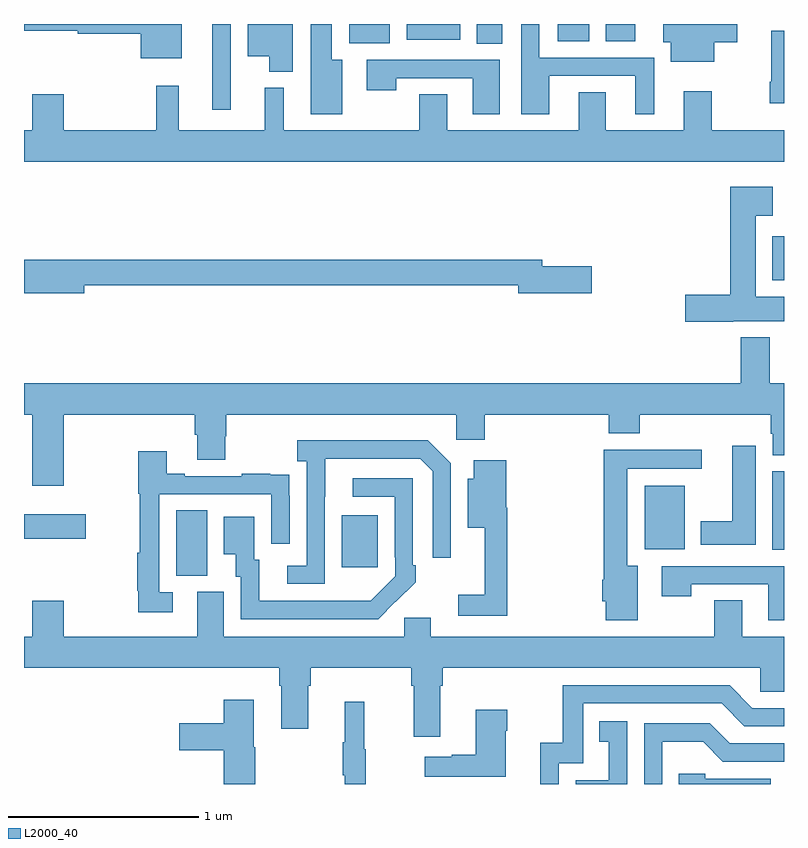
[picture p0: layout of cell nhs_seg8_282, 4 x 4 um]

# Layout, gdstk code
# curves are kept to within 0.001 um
import gdstk
lib = gdstk.Library(unit=1e-6, precision=1e-09)
def R(c, l, rs):  # rectangles x0, y0, x1, y1
    for r in rs: c.add(gdstk.rectangle(r[:2], r[2:], *l))
def P(c, l, *ps):  # polygons
    for p in ps: c.add(gdstk.Polygon(p, *l))
L2000_40 = (2000, 40)

nhs_seg8_282 = lib.new_cell('nhs_seg8_282')
R(nhs_seg8_282, L2000_40, [(129.8,1104.997,129.964,1105.34), (130.673,1105.041,130.861,1105.315), (132.938,1105.132,133,1105.546), (132.266,1105.136,132.478,1105.471), (129,1105.192,129.325,1105.321), (132.938,1106.552,133,1106.782), (129.992,1107.45,130.089,1107.9), (131.384,1107.796,131.518,1107.9), (130.712,1107.8,130.924,1107.9), (131.81,1107.808,131.974,1107.9), (132.062,1107.808,132.217,1107.9), (131.015,1107.818,131.296,1107.9)])
P(nhs_seg8_282, L2000_40, [(131.764,1107.627),(132.218,1107.627),(132.218,1107.426),(132.316,1107.426),(132.316,1107.723),(131.712,1107.723),(131.712,1107.9),(131.616,1107.9),(131.616,1107.426),(131.764,1107.426)],
  [(130.675,1107.712),(130.621,1107.712),(130.621,1107.9),(130.508,1107.9),(130.508,1107.426),(130.675,1107.426)],
  [(129.829,1107.9),(129,1107.9),(129,1107.864),(129.284,1107.864),(129.284,1107.848),(129.614,1107.848),(129.614,1107.719),(129.829,1107.719)],
  [(130.414,1107.9),(130.178,1107.9),(130.178,1107.731),(130.292,1107.731),(130.292,1107.65),(130.414,1107.65)],
  [(132.634,1107.805),(132.754,1107.805),(132.754,1107.9),(132.365,1107.9),(132.365,1107.805),(132.404,1107.805),(132.404,1107.701),(132.634,1107.701)],
  [(133,1107.864),(132.932,1107.864),(132.932,1107.595),(132.925,1107.595),(132.925,1107.483),(133,1107.483)],
  [(131.503,1107.711),(130.803,1107.711),(130.803,1107.552),(130.959,1107.552),(130.959,1107.615),(131.363,1107.615),(131.363,1107.426),(131.503,1107.426)],
  [(133,1107.34),(132.621,1107.34),(132.621,1107.547),(132.473,1107.547),(132.473,1107.34),(132.061,1107.34),(132.061,1107.542),(131.921,1107.542),(131.921,1107.34),(131.227,1107.34),(131.227,1107.53),(131.08,1107.53),(131.08,1107.34),(130.366,1107.34),(130.366,1107.565),(130.268,1107.565),(130.268,1107.34),(129.815,1107.34),(129.815,1107.574),(129.697,1107.574),(129.697,1107.34),(129.208,1107.34),(129.208,1107.529),(129.044,1107.529),(129.044,1107.34),(129,1107.34),(129,1107.176),(133,1107.176)],
  [(132.732,1106.336),(133,1106.336),(133,1106.464),(132.85,1106.464),(132.85,1106.891),(132.94,1106.891),(132.94,1107.043),(132.716,1107.043),(132.716,1106.474),(132.48,1106.474),(132.48,1106.332),(132.732,1106.332)],
  [(129.316,1106.524),(131.6,1106.524),(131.6,1106.482),(131.989,1106.482),(131.989,1106.624),(131.728,1106.624),(131.728,1106.66),(129,1106.66),(129,1106.482),(129.316,1106.482)],
  [(129.208,1105.844),(129.899,1105.844),(129.899,1105.738),(129.911,1105.738),(129.911,1105.606),(130.059,1105.606),(130.059,1105.731),(130.064,1105.731),(130.064,1105.844),(131.274,1105.844),(131.274,1105.713),(131.426,1105.713),(131.426,1105.844),(132.077,1105.844),(132.077,1105.745),(132.242,1105.745),(132.242,1105.844),(132.929,1105.844),(132.929,1105.743),(132.941,1105.743),(132.941,1105.631),(133,1105.631),(133,1106.008),(132.925,1106.008),(132.925,1106.251),(132.773,1106.251),(132.773,1106.008),(129,1106.008),(129,1105.844),(129.044,1105.844),(129.044,1105.47),(129.208,1105.47)],
  [(130.584,1105.411),(130.585,1105.611),(131.085,1105.611),(131.151,1105.545),(131.151,1105.092),(131.247,1105.092),(131.247,1105.587),(131.126,1105.708),(130.437,1105.708),(130.437,1105.598),(130.488,1105.598),(130.488,1105.05),(130.386,1105.05),(130.386,1104.954),(130.584,1104.954)],
  [(132.85,1105.681),(132.728,1105.681),(132.728,1105.282),(132.563,1105.282),(132.563,1105.16),(132.85,1105.16)],
  [(132.229,1105.048),(132.175,1105.048),(132.175,1105.56),(132.568,1105.56),(132.568,1105.658),(132.05,1105.658),(132.05,1104.975),(132.044,1104.975),(132.044,1104.861),(132.062,1104.861),(132.062,1104.762),(132.229,1104.762)],
  [(129.784,1104.909),(129.711,1104.909),(129.711,1105.425),(130.302,1105.425),(130.302,1105.164),(130.398,1105.164),(130.398,1105.418),(130.397,1105.418),(130.397,1105.527),(130.295,1105.527),(130.295,1105.534),(130.147,1105.534),(130.147,1105.521),(129.847,1105.521),(129.847,1105.534),(129.751,1105.534),(129.751,1105.651),(129.602,1105.651),(129.602,1105.428),(129.61,1105.428),(129.61,1105.116),(129.595,1105.116),(129.595,1104.916),(129.602,1104.916),(129.602,1104.804),(129.784,1104.804)],
  [(131.543,1105.354),(131.537,1105.354),(131.537,1105.603),(131.366,1105.603),(131.366,1105.507),(131.336,1105.507),(131.336,1105.25),(131.426,1105.25),(131.426,1104.895),(131.286,1104.895),(131.286,1104.786),(131.543,1104.786)],
  [(130.955,1104.859),(130.956,1104.858),(131.061,1104.963),(131.061,1105.051),(131.046,1105.051),(131.046,1105.509),(130.731,1105.509),(130.731,1105.413),(130.95,1105.413),(130.95,1105.093),(130.953,1105.093),(130.953,1104.993),(130.825,1104.865),(130.237,1104.864),(130.237,1105.08),(130.213,1105.08),(130.213,1105.306),(130.052,1105.306),(130.052,1105.109),(130.115,1105.109),(130.115,1104.99),(130.14,1104.99),(130.14,1104.768),(130.864,1104.768)],
  [(133,1105.047),(132.357,1105.047),(132.357,1104.888),(132.513,1104.888),(132.513,1104.951),(132.917,1104.951),(132.917,1104.762),(133,1104.762)],
  [(131.191,1104.416),(131.204,1104.416),(131.204,1104.512),(132.876,1104.512),(132.876,1104.385),(133,1104.385),(133,1104.676),(132.781,1104.676),(132.781,1104.866),(132.634,1104.866),(132.634,1104.676),(131.14,1104.676),(131.14,1104.774),(131.001,1104.774),(131.001,1104.676),(130.051,1104.676),(130.051,1104.912),(129.911,1104.912),(129.911,1104.676),(129.208,1104.676),(129.208,1104.865),(129.044,1104.865),(129.044,1104.676),(129,1104.676),(129,1104.512),(130.343,1104.512),(130.343,1104.416),(130.355,1104.416),(130.355,1104.192),(130.495,1104.192),(130.495,1104.416),(130.508,1104.416),(130.508,1104.512),(131.039,1104.512),(131.039,1104.416),(131.051,1104.416),(131.051,1104.15),(131.191,1104.15)],
  [(131.814,1104.009),(131.943,1104.009),(131.943,1104.324),(132.672,1104.324),(132.792,1104.204),(133,1104.204),(133,1104.3),(132.834,1104.3),(132.714,1104.42),(131.835,1104.42),(131.835,1104.118),(131.717,1104.118),(131.717,1103.9),(131.814,1103.9)],
  [(130.218,1104.093),(130.21,1104.093),(130.21,1104.343),(130.052,1104.343),(130.052,1104.219),(129.816,1104.219),(129.816,1104.077),(130.052,1104.077),(130.052,1103.9),(130.218,1103.9)],
  [(130.798,1104.084),(130.79,1104.084),(130.79,1104.334),(130.688,1104.334),(130.688,1104.121),(130.677,1104.121),(130.677,1103.947),(130.688,1103.947),(130.688,1103.9),(130.798,1103.9)],
  [(131.536,1104.179),(131.544,1104.179),(131.544,1104.292),(131.378,1104.292),(131.378,1104.053),(131.252,1104.053),(131.252,1104.043),(131.109,1104.043),(131.109,1103.939),(131.536,1103.939)],
  [(132.174,1104.229),(132.028,1104.229),(132.028,1104.123),(132.077,1104.123),(132.077,1103.919),(131.904,1103.919),(131.904,1103.9),(132.174,1103.9)],
  [(132.36,1104.122),(132.574,1104.122),(132.678,1104.018),(133,1104.018),(133,1104.114),(132.715,1104.114),(132.61,1104.219),(132.264,1104.219),(132.264,1103.9),(132.36,1103.9)],
  [(132.93,1103.928),(132.585,1103.928),(132.585,1103.955),(132.445,1103.955),(132.445,1103.9),(132.93,1103.9)])

lib.write_gds('nhs_seg8_282.gds')
